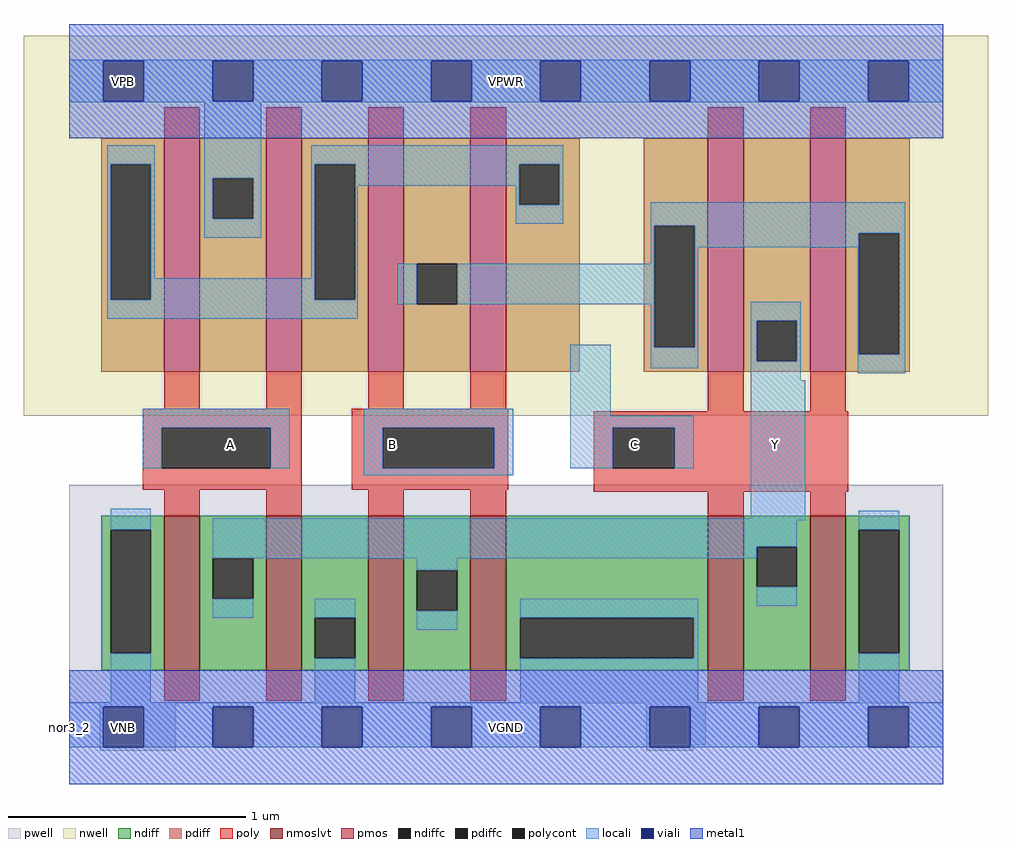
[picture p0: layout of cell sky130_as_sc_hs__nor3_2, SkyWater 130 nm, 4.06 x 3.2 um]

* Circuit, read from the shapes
.subckt sky130_as_sc_hs__nor3_2 VNB VPWR VGND VPB A B C Y
XM1 Y A VGND VNB sky130_fd_pr__nfet_01v8_lvt w=0.65 l=0.15 m=2
XM2 Y B VGND VNB sky130_fd_pr__nfet_01v8_lvt w=0.65 l=0.15 m=2
XM3 Y C VGND VNB sky130_fd_pr__nfet_01v8_lvt w=0.65 l=0.15 m=2
XM4 VPWR A n1 VPB sky130_fd_pr__pfet_01v8 w=0.985 l=0.15 m=2
XM5 n2 B n1 VPB sky130_fd_pr__pfet_01v8 w=0.985 l=0.15 m=2
XM6 Y C n2 VPB sky130_fd_pr__pfet_01v8 w=0.985 l=0.15 m=2
.ends

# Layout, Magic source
magic
tech sky130A
magscale 1 2
<< nwell >>
rect -38 262 774 582
<< pwell >>
rect 0 20 736 204
rect 26 -20 90 20
rect 486 -15 536 20
rect 486 -20 526 -15
<< pmos >>
rect 80 299 110 496
rect 166 299 196 496
rect 252 299 282 496
rect 338 299 368 496
rect 538 299 568 496
rect 624 299 654 496
<< nmoslvt >>
rect 80 48 110 178
rect 166 48 196 178
rect 252 48 282 178
rect 338 48 368 178
rect 538 48 568 178
rect 624 48 654 178
<< ndiff >>
rect 27 166 80 178
rect 27 62 35 166
rect 69 62 80 166
rect 27 48 80 62
rect 110 142 166 178
rect 110 108 121 142
rect 155 108 166 142
rect 110 48 166 108
rect 196 92 252 178
rect 196 58 207 92
rect 241 58 252 92
rect 196 48 252 58
rect 282 132 338 178
rect 282 98 293 132
rect 327 98 338 132
rect 282 48 338 98
rect 368 92 538 178
rect 368 58 380 92
rect 526 58 538 92
rect 368 48 538 58
rect 568 152 624 178
rect 568 118 579 152
rect 613 118 624 152
rect 568 48 624 118
rect 654 166 708 178
rect 654 62 665 166
rect 699 62 708 166
rect 654 48 708 62
<< pdiff >>
rect 27 474 80 496
rect 27 360 35 474
rect 69 360 80 474
rect 27 299 80 360
rect 110 462 166 496
rect 110 428 121 462
rect 155 428 166 462
rect 110 299 166 428
rect 196 474 252 496
rect 196 360 207 474
rect 241 360 252 474
rect 196 299 252 360
rect 282 390 338 496
rect 282 356 293 390
rect 327 356 338 390
rect 282 299 338 356
rect 368 474 430 496
rect 368 440 379 474
rect 413 440 430 474
rect 368 299 430 440
rect 484 422 538 496
rect 484 320 493 422
rect 527 320 538 422
rect 484 299 538 320
rect 568 342 624 496
rect 568 308 579 342
rect 613 308 624 342
rect 568 299 624 308
rect 654 416 708 496
rect 654 314 665 416
rect 699 314 708 416
rect 654 299 708 314
<< ndiffc >>
rect 35 62 69 166
rect 121 108 155 142
rect 207 58 241 92
rect 293 98 327 132
rect 380 58 526 92
rect 579 118 613 152
rect 665 62 699 166
<< pdiffc >>
rect 35 360 69 474
rect 121 428 155 462
rect 207 360 241 474
rect 293 356 327 390
rect 379 440 413 474
rect 493 320 527 422
rect 579 308 613 342
rect 665 314 699 416
<< poly >>
rect 80 496 110 522
rect 166 496 196 522
rect 252 496 282 522
rect 338 496 368 522
rect 538 496 568 522
rect 624 496 654 522
rect 80 268 110 299
rect 166 268 196 299
rect 252 268 282 299
rect 338 268 368 299
rect 62 252 196 268
rect 62 218 78 252
rect 170 218 196 252
rect 62 200 196 218
rect 238 252 370 268
rect 538 266 568 299
rect 624 266 654 299
rect 238 218 264 252
rect 358 218 370 252
rect 238 200 370 218
rect 442 252 656 266
rect 442 218 458 252
rect 510 218 656 252
rect 80 178 110 200
rect 166 178 196 200
rect 252 178 282 200
rect 338 178 368 200
rect 442 198 656 218
rect 538 178 568 198
rect 624 178 654 198
rect 80 22 110 48
rect 166 22 196 48
rect 252 22 282 48
rect 338 22 368 48
rect 538 22 568 48
rect 624 22 654 48
<< polycont >>
rect 78 218 170 252
rect 264 218 358 252
rect 458 218 510 252
<< locali >>
rect 0 561 736 562
rect 0 527 29 561
rect 63 527 121 561
rect 155 527 213 561
rect 247 527 305 561
rect 339 527 397 561
rect 431 527 489 561
rect 523 527 581 561
rect 615 527 673 561
rect 707 527 736 561
rect 0 526 736 527
rect 32 474 72 490
rect 32 360 35 474
rect 69 378 72 474
rect 114 462 162 526
rect 114 428 121 462
rect 155 428 162 462
rect 114 412 162 428
rect 204 474 416 490
rect 204 378 207 474
rect 69 360 207 378
rect 241 456 379 474
rect 241 360 243 456
rect 376 440 379 456
rect 413 440 416 474
rect 376 424 416 440
rect 490 422 704 442
rect 490 390 493 422
rect 32 344 243 360
rect 277 356 293 390
rect 327 356 493 390
rect 62 252 186 268
rect 62 218 78 252
rect 170 218 186 252
rect 248 252 374 268
rect 248 218 264 252
rect 358 218 374 252
rect 422 262 456 322
rect 490 320 493 356
rect 527 416 704 422
rect 527 404 665 416
rect 527 320 530 404
rect 490 302 530 320
rect 574 342 616 358
rect 574 308 579 342
rect 613 308 616 342
rect 574 292 616 308
rect 664 314 665 404
rect 699 314 704 416
rect 664 298 704 314
rect 422 252 526 262
rect 422 218 458 252
rect 510 218 526 252
rect 248 212 374 218
rect 35 166 69 184
rect 574 176 620 292
rect 121 174 620 176
rect 121 152 613 174
rect 121 142 579 152
rect 293 132 327 142
rect 121 92 155 108
rect 207 92 241 108
rect 35 21 69 62
rect 293 82 327 98
rect 380 92 530 108
rect 579 102 613 118
rect 665 166 699 182
rect 207 21 241 58
rect 526 58 530 92
rect 380 21 530 58
rect 665 21 699 62
rect 0 17 736 21
rect 0 -17 29 17
rect 63 -17 121 17
rect 155 -17 213 17
rect 247 -17 305 17
rect 339 -17 397 17
rect 431 -17 489 17
rect 523 -17 581 17
rect 615 -17 673 17
rect 707 -17 736 17
<< viali >>
rect 29 527 63 561
rect 121 527 155 561
rect 213 527 247 561
rect 305 527 339 561
rect 397 527 431 561
rect 489 527 523 561
rect 581 527 615 561
rect 673 527 707 561
rect 29 -17 63 17
rect 121 -17 155 17
rect 213 -17 247 17
rect 305 -17 339 17
rect 397 -17 431 17
rect 489 -17 523 17
rect 581 -17 615 17
rect 673 -17 707 17
<< metal1 >>
rect 0 561 736 592
rect 0 527 29 561
rect 63 527 121 561
rect 155 527 213 561
rect 247 527 305 561
rect 339 527 397 561
rect 431 527 489 561
rect 523 527 581 561
rect 615 527 673 561
rect 707 527 736 561
rect 0 496 736 527
rect 0 17 736 48
rect 0 -17 29 17
rect 63 -17 121 17
rect 155 -17 213 17
rect 247 -17 305 17
rect 339 -17 397 17
rect 431 -17 489 17
rect 523 -17 581 17
rect 615 -17 673 17
rect 707 -17 736 17
rect 0 -48 736 -17
<< labels >>
rlabel comment s 0 0 0 0 4 nor3_2
flabel pwell s 29 -17 63 17 0 FreeSans 200 0 0 0 VNB
port 1 nsew ground bidirectional
flabel pwell s 46 0 46 0 0 FreeSans 200 0 0 0 VNB
flabel nwell s 29 527 63 561 0 FreeSans 200 0 0 0 VPB
port 4 nsew power bidirectional
flabel nwell s 46 544 46 544 0 FreeSans 200 0 0 0 VPB
flabel metal1 s 29 527 63 561 0 FreeSans 200 0 0 0 VPWR
port 2 nsew power bidirectional abutment
flabel metal1 s 29 -17 63 17 0 FreeSans 200 0 0 0 VGND
port 3 nsew ground bidirectional abutment
rlabel metal1 s 0 -48 736 48 1 VGND
port 3 nsew ground bidirectional abutment
rlabel metal1 s 0 496 736 592 1 VPWR
port 2 nsew power bidirectional abutment
flabel locali 119 221 153 255 0 FreeSans 200 0 0 0 A
port 5 nsew signal input
flabel locali 136 238 136 238 0 FreeSans 200 0 0 0 A
flabel locali 255 221 289 255 0 FreeSans 200 0 0 0 B
port 6 nsew signal input
flabel locali 272 238 272 238 0 FreeSans 200 0 0 0 B
flabel locali 459 221 493 255 0 FreeSans 200 0 0 0 C
port 7 nsew signal input
flabel polycont 476 238 476 238 0 FreeSans 200 0 0 0 C
flabel locali 578 221 612 255 0 FreeSans 200 0 0 0 Y
port 8 nsew signal output
flabel locali 595 238 595 238 0 FreeSans 200 0 0 0 Y
<< properties >>
string FIXED_BBOX 0 0 736 544
string GDS_FILE $PDKPATH/libs.ref/sky130_as_sc_hs/gds/sky130_as_sc_hs__nor3_2.gds
string LEFclass CORE
string LEFsite unithd
string LEFsymmetry X Y R90
string MASKHINTS_LVTN 0 -4 736 216
string MASKHINTS_NSDM 0 -38 736 204
string MASKHINTS_PSDM 0 272 736 582
<< end >>
